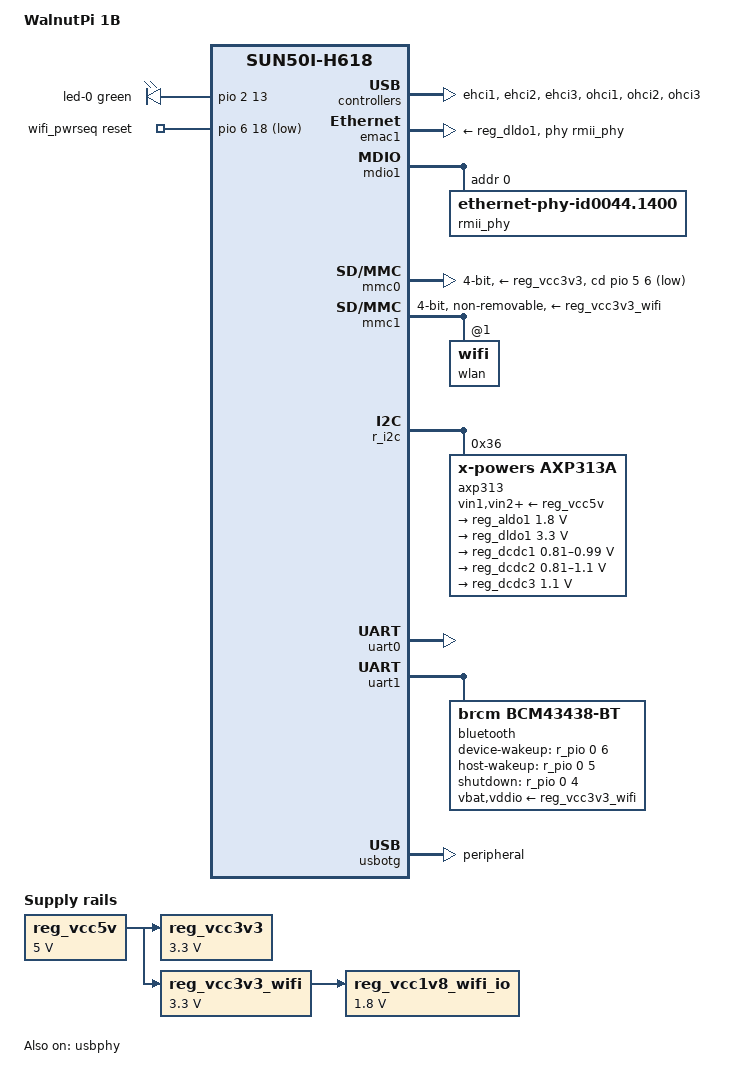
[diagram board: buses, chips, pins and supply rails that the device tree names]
// SPDX-License-Identifier: (GPL-2.0+ OR MIT)
/*
 * Copyright (C) 2025
 */

/dts-v1/;

#include "sun50i-h616.dtsi"
#include "sun50i-h616-cpu-opp.dtsi"

#include <dt-bindings/gpio/gpio.h>
#include <dt-bindings/interrupt-controller/arm-gic.h>
#include <dt-bindings/leds/common.h>

/ {
	model = "WalnutPi 1B";
	compatible = "walnutpi,walnutpi-1b", "allwinner,sun50i-h618";

	aliases {
		ethernet0 = &emac1;
		serial0 = &uart0;
	};

	chosen {
		stdout-path = "serial0:115200n8";
	};

	leds {
		compatible = "gpio-leds";

		led-0 {
			function = LED_FUNCTION_STATUS;
			color = <LED_COLOR_ID_GREEN>;
			gpios = <&pio 2 13 GPIO_ACTIVE_HIGH>; /* PC13 */
		};
	};

	reg_vcc5v: vcc5v {
		/* board wide 5V supply directly from the USB-C socket */
		compatible = "regulator-fixed";
		regulator-name = "vcc-5v";
		regulator-min-microvolt = <5000000>;
		regulator-max-microvolt = <5000000>;
		regulator-always-on;
	};

	reg_vcc3v3: vcc3v3 {
		compatible = "regulator-fixed";
		regulator-name = "vcc-3v3";
		regulator-min-microvolt = <3300000>;
		regulator-max-microvolt = <3300000>;
		vin-supply = <&reg_vcc5v>;
		regulator-always-on;
	};

	reg_vcc3v3_wifi: vcc3v3-wifi {
		compatible = "regulator-fixed";
		regulator-name = "vcc3v3-wifi";
		regulator-min-microvolt = <3300000>;
		regulator-max-microvolt = <3300000>;
		vin-supply = <&reg_vcc5v>;
		regulator-always-on;
	};

	reg_vcc1v8_wifi_io: vcc1v8-wifi-io {
		compatible = "regulator-fixed";
		regulator-name = "vcc1v8-wifi-io";
		regulator-min-microvolt = <1800000>;
		regulator-max-microvolt = <1800000>;
		vin-supply = <&reg_vcc3v3_wifi>;
		regulator-always-on;
	};

	wifi_pwrseq: pwrseq {
		compatible = "mmc-pwrseq-simple";
		clocks = <&rtc CLK_OSC32K_FANOUT>;
		clock-names = "ext_clock";
		pinctrl-0 = <&x32clk_fanout_pin>;
		pinctrl-names = "default";
		reset-gpios = <&pio 6 18 GPIO_ACTIVE_LOW>; /* PG18 */
	};
};

&cpu0 {
	cpu-supply = <&reg_dcdc2>;
};

&ehci1 {
	status = "okay";
};

&ehci2 {
	status = "okay";
};

&ehci3 {
	status = "okay";
};

&emac1 {
	phy-supply = <&reg_dldo1>;
	phy-handle = <&rmii_phy>;
	allwinner,rx-delay-ps = <3100>;
	allwinner,tx-delay-ps = <700>;
	status = "okay";
};

&mdio1 {
	rmii_phy: ethernet-phy@0 {
		compatible = "ethernet-phy-id0044.1400",
			     "ethernet-phy-ieee802.3-c22";
		reg = <0>;
	};
};

&mmc0 {
	cd-gpios = <&pio 5 6 GPIO_ACTIVE_LOW>;	/* PF6 */
	bus-width = <4>;
	vmmc-supply = <&reg_vcc3v3>;
	status = "okay";
};

&mmc1 {
	vmmc-supply = <&reg_vcc3v3_wifi>;
	vqmmc-supply = <&reg_vcc1v8_wifi_io>;
	mmc-pwrseq = <&wifi_pwrseq>;
	bus-width = <4>;
	non-removable;
	mmc-ddr-1_8v;
	status = "okay";

	wlan: wifi@1 {
		reg = <1>;
	};
};

&ohci1 {
	status = "okay";
};

&ohci2 {
	status = "okay";
};

&ohci3 {
	status = "okay";
};

&pio {
	vcc-pc-supply = <&reg_dldo1>;
	vcc-pf-supply = <&reg_dldo1>;	/* internally via VCC-IO */
	vcc-pg-supply = <&reg_aldo1>;
	vcc-ph-supply = <&reg_dldo1>;	/* internally via VCC-IO */
	vcc-pi-supply = <&reg_dldo1>;

	/omit-if-no-ref/
	x32clk_fanout_pin: x32clk-fanout-pin {
		pins = "PG10";
		function = "clock";
	};
};

&r_i2c {
	status = "okay";

	axp313: pmic@36 {
		compatible = "x-powers,axp313a";
		reg = <0x36>;
		#interrupt-cells = <1>;
		interrupt-controller;

		vin1-supply = <&reg_vcc5v>;
		vin2-supply = <&reg_vcc5v>;
		vin3-supply = <&reg_vcc5v>;

		regulators {
			/* Supplies VCC-PLL and DRAM */
			reg_aldo1: aldo1 {
				regulator-always-on;
				regulator-min-microvolt = <1800000>;
				regulator-max-microvolt = <1800000>;
				regulator-name = "vcc1v8";
			};

			/* Supplies VCC-IO, so needs to be always on. */
			reg_dldo1: dldo1 {
				regulator-always-on;
				regulator-min-microvolt = <3300000>;
				regulator-max-microvolt = <3300000>;
				regulator-name = "vcc3v3";
			};

			reg_dcdc1: dcdc1 {
				regulator-always-on;
				regulator-min-microvolt = <810000>;
				regulator-max-microvolt = <990000>;
				regulator-name = "vdd-gpu-sys";
			};

			reg_dcdc2: dcdc2 {
				regulator-always-on;
				regulator-min-microvolt = <810000>;
				regulator-max-microvolt = <1100000>;
				regulator-name = "vdd-cpu";
			};

			reg_dcdc3: dcdc3 {
				regulator-always-on;
				regulator-min-microvolt = <1100000>;
				regulator-max-microvolt = <1100000>;
				regulator-name = "vdd-dram";
			};
		};
	};
};

&uart0 {
	pinctrl-names = "default";
	pinctrl-0 = <&uart0_ph_pins>;
	status = "okay";
};

&uart1 {
	pinctrl-names = "default";
	pinctrl-0 = <&uart1_pins>, <&uart1_rts_cts_pins>;
	uart-has-rtscts;
	status = "okay";

	bluetooth {
		compatible = "brcm,bcm43438-bt";
		clocks = <&rtc 1>;
		clock-names = "lpo";
		vbat-supply = <&reg_vcc3v3_wifi>;
		vddio-supply = <&reg_vcc3v3_wifi>;
		device-wakeup-gpios = <&r_pio 0 6 GPIO_ACTIVE_HIGH>; /* PL6 */
		host-wakeup-gpios = <&r_pio 0 5 GPIO_ACTIVE_HIGH>; /* PL5 */
		shutdown-gpios = <&r_pio 0 4 GPIO_ACTIVE_HIGH>; /* PL4 */
	};
};

&usbotg {
	/*
	 * PHY0 pins are connected to a USB-C socket, but a role switch
	 * is not implemented: both CC pins are pulled to GND.
	 * The VBUS pins power the device, so a fixed peripheral mode
	 * is the best choice.
	 * The board can be powered via GPIOs, in this case port0 *can*
	 * act as a host (with a cable/adapter ignoring CC), as VBUS is
	 * then provided by the GPIOs. Any user of this setup would
	 * need to adjust the DT accordingly: dr_mode set to "host",
	 * enabling OHCI0 and EHCI0.
	 */
	dr_mode = "peripheral";
	status = "okay";
};

&usbphy {
	usb1_vbus-supply = <&reg_vcc5v>;
	status = "okay";
};
